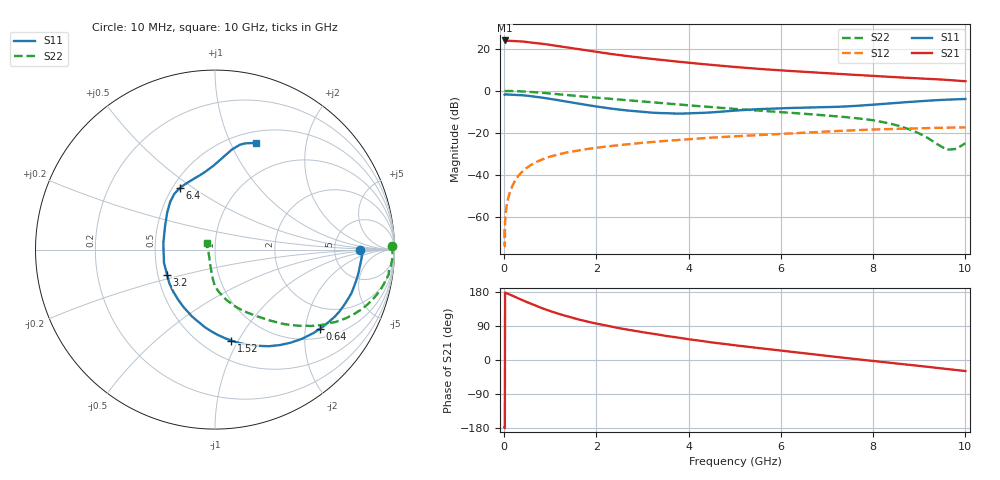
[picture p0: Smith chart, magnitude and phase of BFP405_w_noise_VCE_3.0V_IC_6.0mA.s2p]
! Infineon Technologies  Discrete & RF Semiconductors
! BFP405
! VCE =  3.0 V,  IC =  6.0 mA
! Common Emitter S-Parameters:  Jan 2016
# GHz  S  MA  R  50
!  f  S11  S21  S12  S22
! GHz  MAG  ANG  MAG  ANG  MAG  ANG  MAG  ANG
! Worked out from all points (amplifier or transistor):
!   233 points, 10 MHz to 10 GHz, reference 50 ohm
!   highest |S21| = 24.0 dB at 10 MHz (marker M1)
!   |S21| within 3 dB of that: start of sweep to 1.266 GHz
!   unconditionally stable (mu >= 1): 11.27 MHz to 17.02 MHz; 3.213 GHz to end of sweep
!   at 200 MHz: K = 0.11, MSG = 34.0 dB, |S12| = -44.3 dB
!   at 1.74 GHz: K = 0.60, MSG = 23.6 dB, |S12| = -27.9 dB
!   at 10 GHz: K = 1.43, MAG = 7.1 dB, |S12| = -17.4 dB
!   lowest NFmin = 1.32 dB at 900 MHz
!   S11 on the Smith chart (normalised r, x): 10 MHz: 9.38, -0.15; 640 MHz: 1.27, -2.40; 1.52 GHz: 0.68, -0.93; 3.2 GHz: 0.56, -0.17; 6.4 GHz: 0.55, +0.44; 10 GHz: 0.63, +1.26
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0.01  0.8074 -0.2  15.78 -177.9  0.0005 -78.1  0.985 1.3
0.015  0.8142 -0.6  15.7 -180.0  0.0002 44.2  0.9853 0.6
0.02  0.8211 -0.9  15.64 177.9  0.0008 76.1  0.9857 0.0
0.095  0.8141 -5.7  15.49 174.0  0.003 86.0  0.9898 -2.4
0.26  0.8007 -15.5  15.26 165.2  0.0079 82.3  0.976 -7.0
0.44  0.7753 -26.0  14.71 155.5  0.0133 77.6  0.9597 -11.7
0.64  0.7322 -37.0  13.95 145.5  0.0186 72.6  0.9285 -16.5
0.8  0.6942 -45.7  13.3 137.8  0.0226 69.1  0.9003 -20.1
1  0.6435 -55.7  12.37 129.0  0.0271 65.3  0.8619 -24.1
1.3  0.5667 -69.9  11.03 117.4  0.0329 60.4  0.8043 -29.2
1.52  0.5147 -79.9  10.1 110.0  0.0366 57.5  0.7639 -32.4
1.68  0.4812 -86.8  9.496 105.0  0.0393 55.6  0.7364 -34.6
2  0.4223 -100.7  8.411 96.0  0.044 52.4  0.6863 -38.3
2.4  0.3674 -118.0  7.315 86.2  0.0495 49.2  0.6308 -42.3
3.2  0.3017 -152.0  5.745 69.8  0.0603 43.5  0.5344 -49.4
3.4  0.2945 -160.9  5.44 65.9  0.0629 42.1  0.512 -51.2
5.1  0.3425 140.1  3.617 37.4  0.0836 30.5  0.3639 -66.7
6.4  0.3943 119.9  2.876 19.4  0.0995 22.2  0.2894 -76.8
6.8  0.4025 112.6  2.701 13.8  0.1047 19.4  0.2678 -79.9
8.4  0.5053 86.2  2.132 -7.8  0.1233 6.0  0.1622 -94.4
9.6  0.6146 74.3  1.816 -23.8  0.1324 -3.5  0.0395 -155.0
10  0.6381 68.8  1.688 -29.1  0.1348 -6.2  0.0564 142.7
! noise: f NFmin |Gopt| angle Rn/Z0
0.9  1.32  0.32  10  0.32
1.8  1.58  0.25  16  0.31
2.4  1.71  0.21  23  0.31
3  1.74  0.18  41  0.28
4  1.9  0.07  58  0.25
5  2.27  0.03  180  0.23
